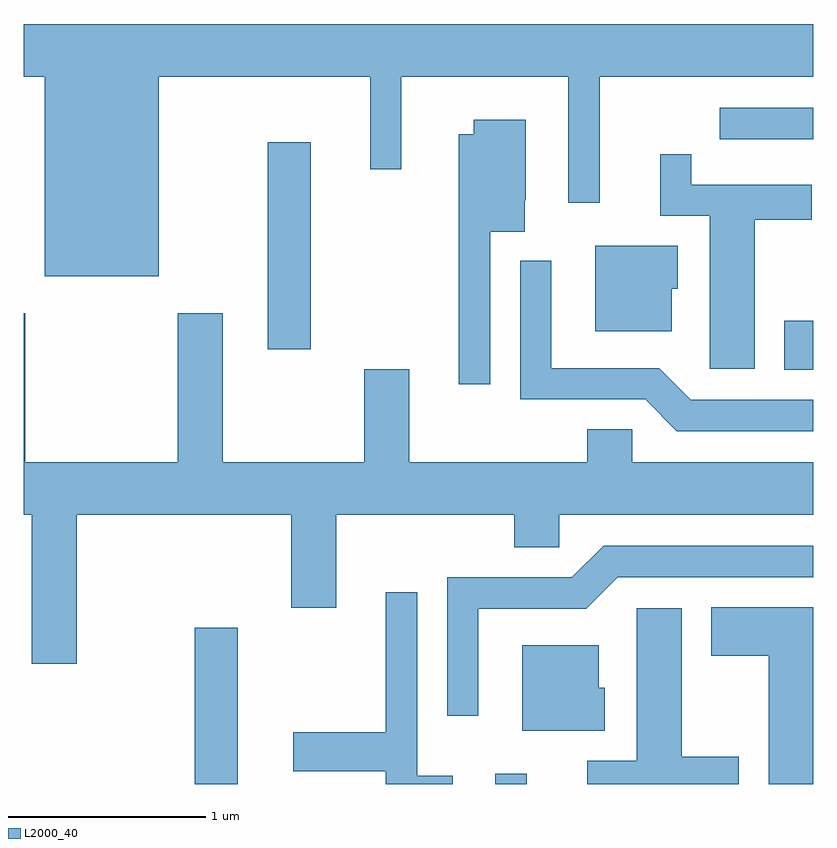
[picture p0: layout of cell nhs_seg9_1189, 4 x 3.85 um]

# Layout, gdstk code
import gdstk
lib = gdstk.Library(unit=1e-6, precision=1e-09)
def R(c, l, rs):  # rectangles x0, y0, x1, y1
    for r in rs: c.add(gdstk.rectangle(r[:2], r[2:], *l))
def P(c, l, *ps):  # polygons
    for p in ps: c.add(gdstk.Polygon(p, *l))
L2000_40 = (2000, 40)

nhs_seg9_1189 = lib.new_cell('nhs_seg9_1189')
R(nhs_seg9_1189, L2000_40, [(220.476,2010.432,220.694,2011.224), (222.001,2010.432,222.159,2010.483), (223.466,2012.531,223.611,2012.779), (220.846,2012.636,221.064,2013.684), (223.138,2013.701,223.611,2013.859)])
P(nhs_seg9_1189, L2000_40, [(220.294,2014.016),(221.366,2014.016),(221.366,2013.548),(221.524,2013.548),(221.524,2014.016),(222.371,2014.016),(222.371,2013.378),(222.529,2013.378),(222.529,2014.016),(223.611,2014.016),(223.611,2014.284),(219.611,2014.284),(219.611,2014.016),(219.716,2014.016),(219.716,2013.006),(220.294,2013.006)],
  [(221.974,2013.231),(222.149,2013.231),(222.149,2013.39),(222.154,2013.39),(222.154,2013.799),(221.891,2013.799),(221.891,2013.724),(221.816,2013.724),(221.816,2012.458),(221.974,2012.458)],
  [(223.314,2013.291),(223.604,2013.291),(223.604,2013.469),(222.994,2013.469),(222.994,2013.623),(222.836,2013.623),(222.836,2013.311),(223.086,2013.311),(223.086,2012.536),(223.314,2012.536)],
  [(222.894,2012.941),(222.924,2012.941),(222.924,2013.159),(222.506,2013.159),(222.506,2012.726),(222.894,2012.726)],
  [(223.611,2012.379),(222.992,2012.379),(222.832,2012.539),(222.284,2012.539),(222.284,2013.083),(222.126,2013.083),(222.126,2012.381),(222.759,2012.381),(222.919,2012.221),(223.611,2012.221)],
  [(219.879,2011.796),(220.966,2011.796),(220.966,2011.326),(221.194,2011.326),(221.194,2011.796),(222.096,2011.796),(222.096,2011.631),(222.324,2011.631),(222.324,2011.796),(223.611,2011.796),(223.611,2012.064),(222.694,2012.064),(222.694,2012.229),(222.466,2012.229),(222.466,2012.064),(221.564,2012.064),(221.564,2012.534),(221.336,2012.534),(221.336,2012.064),(220.619,2012.064),(220.619,2012.819),(220.391,2012.819),(220.391,2012.064),(219.619,2012.064),(219.619,2012.819),(219.611,2012.819),(219.611,2011.796),(219.651,2011.796),(219.651,2011.041),(219.879,2011.041)],
  [(221.914,2011.321),(222.462,2011.321),(222.622,2011.481),(223.611,2011.481),(223.611,2011.639),(222.549,2011.639),(222.389,2011.479),(221.756,2011.479),(221.756,2010.778),(221.914,2010.778)],
  [(221.784,2010.474),(221.604,2010.474),(221.604,2011.403),(221.446,2011.403),(221.446,2010.694),(220.976,2010.694),(220.976,2010.496),(221.446,2010.496),(221.446,2010.432),(221.784,2010.432)],
  [(223.611,2011.329),(223.096,2011.329),(223.096,2011.081),(223.386,2011.081),(223.386,2010.432),(223.611,2010.432)],
  [(223.234,2010.569),(222.944,2010.569),(222.944,2011.324),(222.716,2011.324),(222.716,2010.549),(222.466,2010.549),(222.466,2010.432),(223.234,2010.432)],
  [(222.554,2010.919),(222.524,2010.919),(222.524,2011.134),(222.136,2011.134),(222.136,2010.701),(222.554,2010.701)])

lib.write_gds('nhs_seg9_1189.gds')
